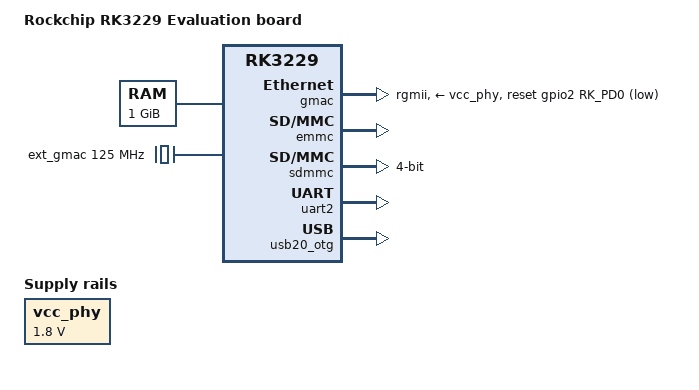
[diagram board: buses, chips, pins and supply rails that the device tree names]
// SPDX-License-Identifier: GPL-2.0+ OR X11
/*
 * (C) Copyright 2017 Rockchip Electronics Co., Ltd.
 */

/dts-v1/;

#include "rk322x.dtsi"

/ {
	model = "Rockchip RK3229 Evaluation board";
	compatible = "rockchip,rk3229-evb", "rockchip,rk3229";

	chosen {
		stdout-path = &uart2;
	};

	memory@60000000 {
		device_type = "memory";
		reg = <0x60000000 0x40000000>;
	};

	ext_gmac: ext_gmac {
		compatible = "fixed-clock";
		clock-frequency = <125000000>;
		clock-output-names = "ext_gmac";
		#clock-cells = <0>;
	};

	vcc_phy: vcc-phy-regulator {
		compatible = "regulator-fixed";
		enable-active-high;
		regulator-name = "vcc_phy";
		regulator-min-microvolt = <1800000>;
		regulator-max-microvolt = <1800000>;
		regulator-always-on;
		regulator-boot-on;
	};
};

&dmc {
	rockchip,pctl-timing = <0x96 0xC8 0x1F3 0xF 0x8000004D 0x4 0x4E 0x6 0x3
		0x0 0x6 0x5 0xC 0x10 0x6 0x4 0x4
		0x5 0x4 0x200 0x3 0xA 0x40 0x0 0x1
		0x5 0x5 0x3 0xC 0x1E 0x100 0x0 0x4
		0x0 0x924>;
	rockchip,phy-timing = <0x220 0x1 0x0 0x0 0x0 0x4 0x60>;
	rockchip,sdram-params = <0x428B188 0x0 0x21 0x472 0x15
		0 300 3 0 120>;
};

&gmac {
	assigned-clocks = <&cru SCLK_MAC_EXTCLK>, <&cru SCLK_MAC>;
	assigned-clock-parents = <&ext_gmac>, <&cru SCLK_MAC_EXTCLK>;
	clock_in_out = "input";
	phy-supply = <&vcc_phy>;
	phy-mode = "rgmii";
	pinctrl-names = "default";
	pinctrl-0 = <&rgmii_pins>;
	snps,reset-gpio = <&gpio2 RK_PD0 GPIO_ACTIVE_LOW>;
	snps,reset-active-low;
	snps,reset-delays-us = <0 10000 1000000>;
	tx_delay = <0x30>;
	rx_delay = <0x10>;
	status = "okay";
};

&emmc {
	u-boot,dm-pre-reloc;
	status = "okay";
};

&sdmmc {
	status = "okay";
	bus-width = <4>;
	cap-mmc-highspeed;
	cap-sd-highspeed;
	card-detect-delay = <200>;
	disable-wp;
	num-slots = <1>;
	supports-sd;
};

&uart2 {
	u-boot,dm-pre-reloc;
	status = "okay";
};

&usb20_otg {
       status = "okay";
};
